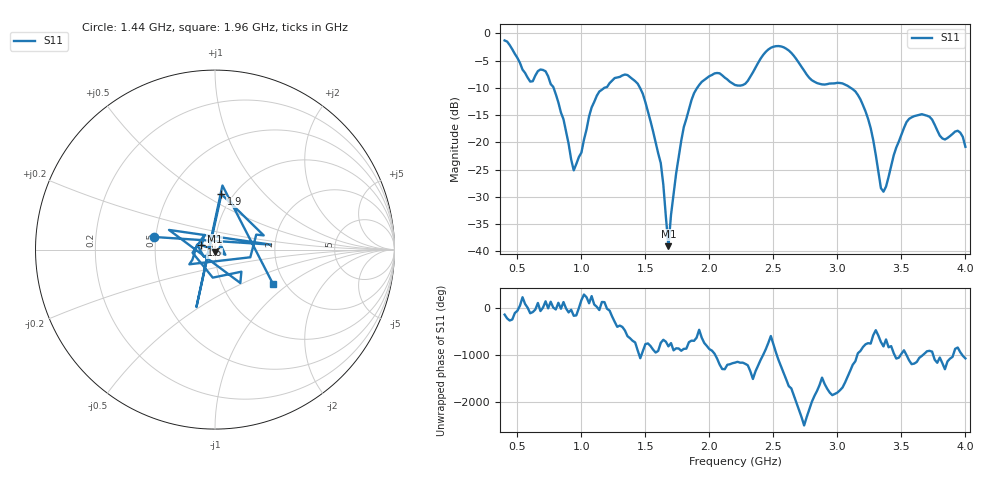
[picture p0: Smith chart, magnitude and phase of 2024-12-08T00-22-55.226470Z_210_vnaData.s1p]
!Created with skrf (http://scikit-rf.org).
# Hz S RI R 50.0
!freq ReS11 ImS11
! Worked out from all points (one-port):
!   181 points, 400 MHz to 4 GHz, reference 50 ohm
!   lowest |S11| = -39.1 dB at 1.68 GHz (marker M1), VSWR 1.02, Z = 49.8 - j1.09 ohm
!   |S11| at or under -10 dB: 782.8 MHz to 1.178 GHz (395.4 MHz wide, 40.3 % of centre); 1.458 GHz to 1.904 GHz (446.1 MHz wide, 26.5 % of centre); 3.105 GHz to end of sweep
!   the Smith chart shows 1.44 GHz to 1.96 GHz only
!   S11 on the Smith chart (normalised r, x): 1.44 GHz: 0.49, +0.08; 1.6 GHz: 0.86, +0.04; 1.9 GHz: 0.88, +0.60; 1.96 GHz: 1.74, -0.77
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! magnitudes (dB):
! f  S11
! 400 MHz  -1.3
! 600 MHz  -8.8
! 720 MHz  -6.9
! 860 MHz  -15.8
! 940 MHz  -25.1
! 1.12 GHz  -11.4
! 1.3 GHz  -8.0
! 1.44 GHz  -9.2
! 1.6 GHz  -22.0
! 1.64 GHz  -27.8
! 1.68 GHz  -39.1
! 1.76 GHz  -22.7
! 1.8 GHz  -17.2
! 1.9 GHz  -10.1
! 1.96 GHz  -8.5
! 2.2 GHz  -9.5
! 2.28 GHz  -9.2
! 2.48 GHz  -2.6
! 2.66 GHz  -4.1
! 2.82 GHz  -8.9
! 3.1 GHz  -9.9
! 3.24 GHz  -15.7
! 3.36 GHz  -29.1
! 3.56 GHz  -15.7
! 3.72 GHz  -15.3
! 3.82 GHz  -19.3
! 3.94 GHz  -17.9
! 4 GHz  -20.8
